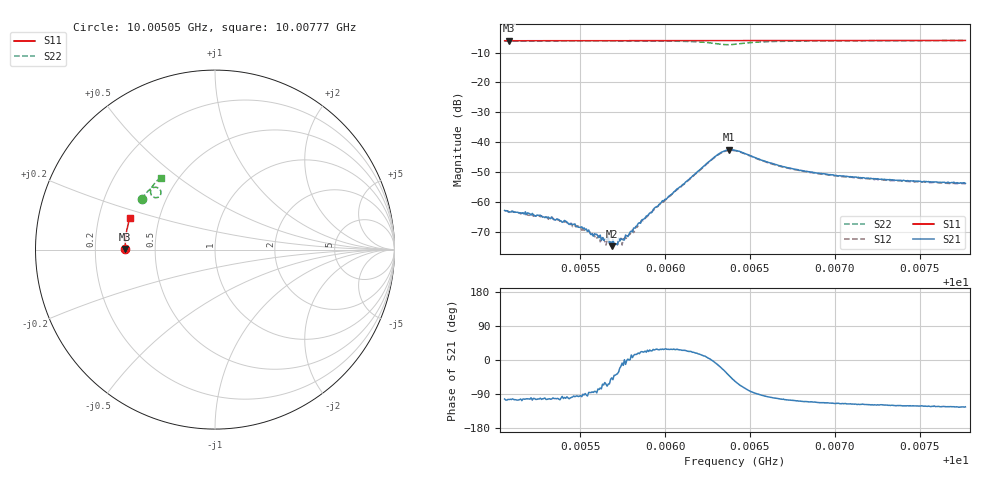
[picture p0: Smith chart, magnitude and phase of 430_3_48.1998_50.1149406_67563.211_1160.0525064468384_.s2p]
#  HZ  S  RI  R  50.00
! Rohde & Schwarz Vector Network Analyzer
! Rohde-Schwarz,ZNB20-2Port,1311601062101988,3.16
! Created: UTC 3/20/2024, 11:55:18 AM
! freq[Hz]  re:S11  im:S11  re:S21  im:S21  re:S12  im:S12  re:S22  im:S22
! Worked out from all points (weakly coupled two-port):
!   401 points, 10.00505 GHz to 10.00777 GHz, reference 50 ohm
!   highest |S21| = -42.58 dB at 10.00638 GHz (marker M1); lowest = -74.9 dB at 10.00569 GHz (marker M2)
!   lowest |S11| = -6.0 dB at 10.00508 GHz (marker M3), VSWR 3.00, Z = 16.7 + j0.124 ohm
!   |S11| at or under -10 dB: nowhere
!   |S22| runs from -7.3 to -6.0 dB; largest |S21 - S12| = 0.00045
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1.0005054e10  -0.5 0.000934  -0.00016 -0.000698  -0.000127 -0.000695  -0.4075 0.2806
1.0005081e10  -0.4999 0.0028  -0.000168 -0.000656  -0.000134 -0.000654  -0.4065 0.2821
1.000519e10  -0.5002 0.0097  -0.000142 -0.000637  -0.000108 -0.000588  -0.4024 0.2886
1.0005332e10  -0.5001 0.019  -0.000121 -0.000537  -4.91e-05 -0.000556  -0.3967 0.2971
1.0005407e10  -0.5002 0.0239  -7.36e-05 -0.000482  -4.6e-05 -0.000455  -0.3937 0.3015
1.0005509e10  -0.5 0.0305  -4.47e-05 -0.000378  6.7e-06 -0.000336  -0.389 0.3076
1.000557e10  -0.4998 0.0345  2.9e-05 -0.000288  2.22e-05 -0.000294  -0.3863 0.3113
1.0005604e10  -0.4997 0.0367  6.08e-05 -0.000258  8.84e-05 -0.000235  -0.3846 0.3134
1.0005685e10  -0.4995 0.042  0.000122 -0.000133  0.000151 -0.000134  -0.3805 0.3183
1.0005713e10  -0.4993 0.0437  0.000155 -0.000121  0.000168 -9.95e-05  -0.379 0.3201
1.000576e10  -0.4991 0.0468  0.00023 3.3e-06  0.000243 -1.22e-05  -0.3763 0.3231
1.0005869e10  -0.4988 0.0538  0.000472 0.000183  0.000434 0.000206  -0.3695 0.3301
1.0005964e10  -0.4982 0.06  0.000804 0.000405  0.000759 0.000462  -0.3619 0.3363
1.0006289e10  -0.4954 0.0809  0.00557 -0.00051  0.00545 -0.000184  -0.3053 0.3328
1.0006337e10  -0.4947 0.0837  0.00631 -0.0027  0.00629 -0.00235  -0.3013 0.3126
1.0006378e10  -0.4946 0.086  0.00555 -0.00494  0.00571 -0.00453  -0.3116 0.2954
1.0006412e10  -0.4941 0.088  0.00406 -0.00605  0.00434 -0.00575  -0.3264 0.2892
1.0006513e10  -0.4937 0.0947  0.000542 -0.00572  0.000814 -0.00563  -0.3552 0.3051
1.0006676e10  -0.492 0.1051  -0.00087 -0.00392  -0.000665 -0.00388  -0.3575 0.3334
1.0006866e10  -0.4897 0.1173  -0.00111 -0.00295  -0.000956 -0.00291  -0.3487 0.352
1.0007321e10  -0.483 0.1459  -0.00116 -0.00205  -0.00105 -0.00203  -0.3258 0.3803
1.0007769e10  -0.4747 0.1733  -0.00113 -0.0017  -0.00106 -0.00172  -0.3028 0.4016
